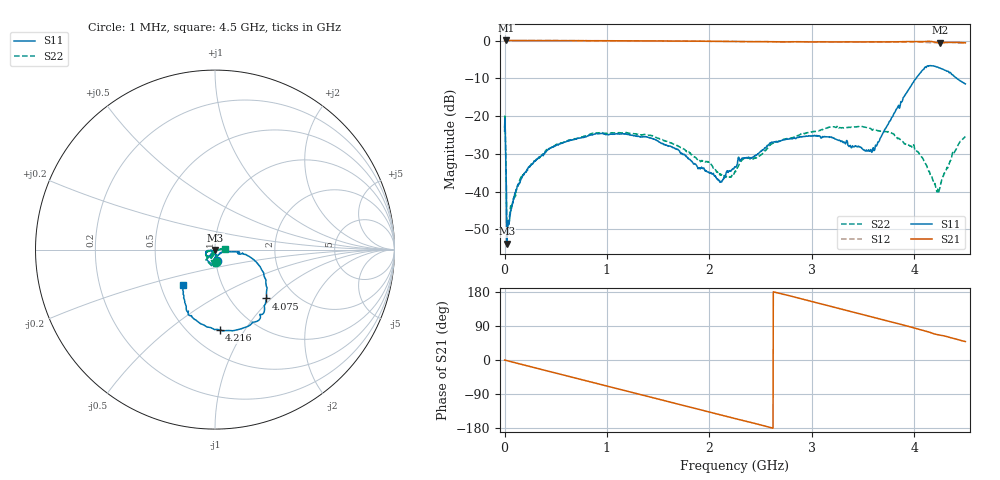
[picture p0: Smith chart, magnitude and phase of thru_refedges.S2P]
!Agilent Technologies,E5071C,MY46101273,A.11.02
!Date: Sat Sep 30 17:42:33 2017
!Data & Calibration Information:
!Freq	S11:SOLT2(ON)	S21:SOLT2(ON)	S12:SOLT2(ON)	S22:SOLT2(ON)
!PortZ  Port1:50+j0  Port2:50+j0
!Above PortZ is port z conversion or system Z0 setting when saving the data.
!When reading, reference impedance value at option line is always used.
# Hz S dB R 50
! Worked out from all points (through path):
!   1601 points, 1 MHz to 4.5 GHz, reference 50 ohm
!   highest |S21| = 0.01 dB at 15.06 MHz (marker M1); lowest = -0.6 dB at 4.255 GHz (marker M2)
!   group delay of S21, straight-line fit = 191 ps
!   lowest |S11| = -53.7 dB at 23.5 MHz (marker M3), VSWR 1.00, Z = 50.1 - j0.186 ohm
!   |S11| at or under -10 dB: start of sweep to 4.019 GHz; 4.415 GHz to end of sweep
!   |S22| runs from -54.4 to -20.0 dB; largest |S21 - S12| = 0.051
!   S11 on the Smith chart (normalised r, x): 1 MHz: 1.01, -0.13; 4.075 GHz: 1.45, -0.93; 4.216 GHz: 0.70, -0.78; 4.5 GHz: 0.65, -0.28
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1000000  -23.99 -80.1  -0.01 -0.2  -0.05 -0.1  -23.15 -84.9
1.505938e7  -34.49 -131.5  0.01 -1.0  -0.03 -1.0  -33.89 -123.3
2.3495e7  -53.74 -64.7  0.00 -1.7  0.00 -1.7  -54.42 -63.6
4.317812e7  -48.45 -82.2  -0.00 -3.0  -0.01 -3.1  -47.56 -76.3
1.219106e8  -38.93 -96.5  -0.01 -8.5  -0.01 -8.5  -38.82 -92.3
2.428212e8  -33.40 -103.9  -0.01 -16.8  -0.01 -16.8  -33.37 -101.0
4.312169e8  -28.78 -115.2  -0.02 -29.7  -0.02 -29.7  -28.60 -110.0
7.517706e8  -25.71 -132.5  -0.04 -51.8  -0.04 -51.8  -25.52 -129.2
1.136998e9  -24.73 -153.6  -0.07 -78.2  -0.08 -78.2  -24.44 -147.4
1.502541e9  -26.68 -169.7  -0.12 -103.2  -0.12 -103.2  -25.88 -162.2
2.104282e9  -37.52 -123.0  -0.23 -144.4  -0.24 -144.3  -35.59 -127.9
2.2505e9  -33.38 -89.7  -0.27 -154.5  -0.25 -154.5  -34.60 -97.8
2.61042e9  -26.91 -78.2  -0.30 -179.1  -0.31 -179.2  -27.31 -74.7
3.001271e9  -25.26 -88.2  -0.38 154.4  -0.37 154.5  -24.19 -82.7
3.572081e9  -29.04 -41.0  -0.37 115.0  -0.37 115.0  -23.26 -102.3
3.752041e9  -21.79 -8.7  -0.36 102.5  -0.43 102.3  -24.17 -113.0
3.946061e9  -12.99 -14.7  -0.29 88.5  -0.43 88.8  -27.70 -117.1
4.075407e9  -8.06 -43.5  -0.32 79.0  -0.45 79.2  -30.91 -117.0
4.216001e9  -6.98 -86.7  -0.52 67.5  -0.55 70.4  -39.45 -57.3
4.255367e9  -7.32 -96.7  -0.61 65.7  -0.47 67.5  -38.45 -16.1
4.390337e9  -9.47 -120.1  -0.49 56.6  -0.49 56.9  -29.74 4.5
4.5e9  -11.48 -131.8  -0.61 48.7  -0.59 51.0  -25.40 2.0
